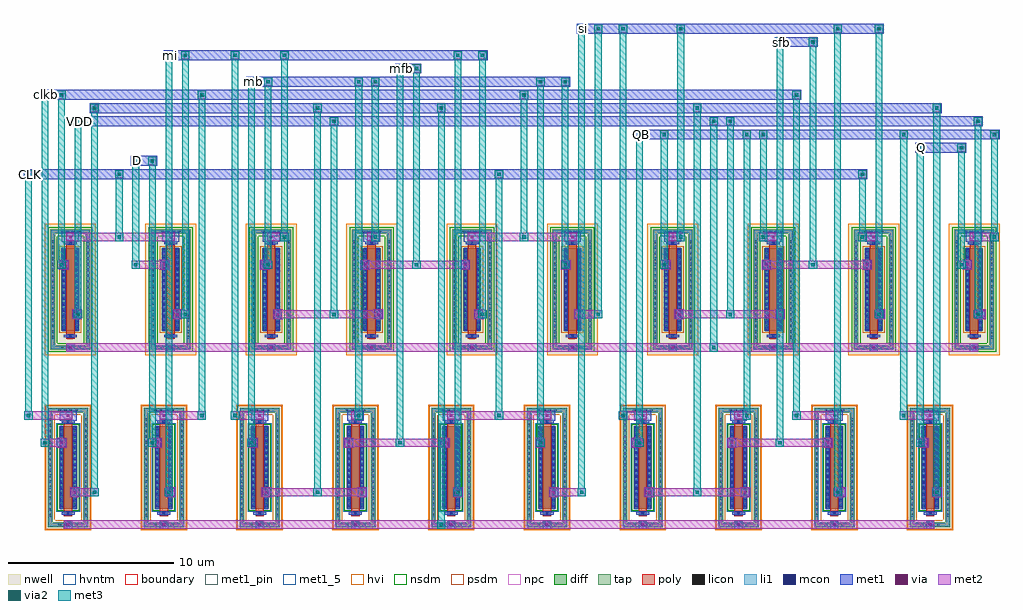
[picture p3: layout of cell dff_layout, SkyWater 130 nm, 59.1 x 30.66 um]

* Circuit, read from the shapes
.subckt dff_layout CLK D Q QB VDD VSS clkb mb mfb mi sfb si
XM1 VSS CLK clkb VSS sky130_fd_pr__nfet_g5v0d10v5 w=5 l=0.5
XM2 mi clkb D VSS sky130_fd_pr__nfet_g5v0d10v5 w=5 l=0.5
XM3 VSS mi mb VSS sky130_fd_pr__nfet_g5v0d10v5 w=5 l=0.5
XM4 VSS mb mfb VSS sky130_fd_pr__nfet_g5v0d10v5 w=5 l=0.5
XM5 mi CLK mfb VSS sky130_fd_pr__nfet_g5v0d10v5 w=5 l=0.5
XM6 si CLK mb VSS sky130_fd_pr__nfet_g5v0d10v5 w=5 l=0.5
XM7 VSS si QB VSS sky130_fd_pr__nfet_g5v0d10v5 w=5 l=0.5
XM8 VSS QB sfb VSS sky130_fd_pr__nfet_g5v0d10v5 w=5 l=0.5
XM9 si clkb sfb VSS sky130_fd_pr__nfet_g5v0d10v5 w=5 l=0.5
XM10 VSS QB Q VSS sky130_fd_pr__nfet_g5v0d10v5 w=5 l=0.5
XM11 VDD CLK clkb VDD sky130_fd_pr__pfet_g5v0d10v5 w=5 l=0.5
XM12 mi CLK D VDD sky130_fd_pr__pfet_g5v0d10v5 w=5 l=0.5
XM13 VDD mi mb VDD sky130_fd_pr__pfet_g5v0d10v5 w=5 l=0.5
XM14 VDD mb mfb VDD sky130_fd_pr__pfet_g5v0d10v5 w=5 l=0.5
XM15 mi clkb mfb VDD sky130_fd_pr__pfet_g5v0d10v5 w=5 l=0.5
XM16 si clkb mb VDD sky130_fd_pr__pfet_g5v0d10v5 w=5 l=0.5
XM17 VDD si QB VDD sky130_fd_pr__pfet_g5v0d10v5 w=5 l=0.5
XM18 VDD QB sfb VDD sky130_fd_pr__pfet_g5v0d10v5 w=5 l=0.5
XM19 si CLK sfb VDD sky130_fd_pr__pfet_g5v0d10v5 w=5 l=0.5
XM20 VDD QB Q VDD sky130_fd_pr__pfet_g5v0d10v5 w=5 l=0.5
.ends

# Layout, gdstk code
import gdstk
lib = gdstk.Library(unit=1e-6, precision=1e-09)
def R(c, l, rs):  # rectangles x0, y0, x1, y1
    for r in rs: c.add(gdstk.rectangle(r[:2], r[2:], *l))
def A(c, l, x, y, w, h, nx, ny, dx, dy):  # array of equal rectangles
    R(c, l, [(x+i*dx, y+j*dy, x+i*dx+w, y+j*dy+h) for i in range(nx) for j in range(ny)])
nwell = (64, 20)
diff = (65, 20)
tap = (65, 44)
poly = (66, 20)
licon = (66, 44)
li1 = (67, 20)
mcon = (67, 44)
met1_5 = (68, 5)
met1_pin = (68, 16)
met1 = (68, 20)
via = (68, 44)
met2 = (69, 20)
via2 = (69, 44)
met3 = (70, 20)
hvi = (75, 20)
nsdm = (93, 44)
psdm = (94, 20)
npc = (95, 20)
hvntm = (125, 20)
boundary = (235, 4)

sky130_fd_pr__pfet_g5v0d = lib.new_cell('sky130_fd_pr__pfet_g5v0d10v5_26NBC3')
R(sky130_fd_pr__pfet_g5v0d, nwell, [(-1.54,-3.985,1.54,3.985)])
R(sky130_fd_pr__pfet_g5v0d, diff, [(-0.54,-2.5,0.54,2.5)])
R(sky130_fd_pr__pfet_g5v0d, tap, [(-1.21,-3.655,1.21,-3.365), (-1.21,-3.365,-0.92,3.365), (0.92,-3.365,1.21,3.365), (-1.21,3.365,1.21,3.655)])
R(sky130_fd_pr__pfet_g5v0d, poly, [(-0.25,-2.985,0.25,2.985)])
A(sky130_fd_pr__pfet_g5v0d, licon, -0.595, -3.595, 0.17, 0.17, 4, 2, 0.34, 7.02)
A(sky130_fd_pr__pfet_g5v0d, licon, -1.15, -2.975, 0.17, 0.17, 1, 18, 0, 0.34)
A(sky130_fd_pr__pfet_g5v0d, licon, 0.98, -2.975, 0.17, 0.17, 1, 18, 0, 0.34)
A(sky130_fd_pr__pfet_g5v0d, licon, -0.48, -2.295, 0.17, 0.17, 1, 14, 0, 0.34)
A(sky130_fd_pr__pfet_g5v0d, licon, 0.31, -2.295, 0.17, 0.17, 1, 14, 0, 0.34)
R(sky130_fd_pr__pfet_g5v0d, licon, [(-0.085,-2.905,0.085,-2.735), (-0.085,2.735,0.085,2.905)])
R(sky130_fd_pr__pfet_g5v0d, li1, [(-1.15,-3.595,1.15,-3.425), (-1.15,-3.425,-0.98,3.425), (0.98,-3.425,1.15,3.425), (-0.395,-2.905,0.395,-2.735), (-0.48,-2.52,-0.31,2.52), (0.31,-2.52,0.48,2.52), (-0.395,2.735,0.395,2.905), (-1.15,3.425,1.15,3.595)])
A(sky130_fd_pr__pfet_g5v0d, mcon, -0.48, -2.425, 0.17, 0.17, 1, 14, 0, 0.36)
A(sky130_fd_pr__pfet_g5v0d, mcon, 0.31, -2.425, 0.17, 0.17, 1, 14, 0, 0.36)
R(sky130_fd_pr__pfet_g5v0d, mcon, [(-0.085,-2.905,0.085,-2.735), (-0.085,2.735,0.085,2.905)])
R(sky130_fd_pr__pfet_g5v0d, met1, [(-0.23,-2.935,0.23,-2.905), (-0.395,-2.905,0.395,-2.735), (-0.23,-2.735,0.23,-2.705), (-0.51,-2.5,-0.28,2.5), (0.28,-2.5,0.51,2.5), (-0.23,2.705,0.23,2.735), (-0.395,2.735,0.395,2.905), (-0.23,2.905,0.23,2.935)])
R(sky130_fd_pr__pfet_g5v0d, hvi, [(-1.54,-3.985,1.54,3.985)])
R(sky130_fd_pr__pfet_g5v0d, nsdm, [(-1.335,-3.78,1.335,-3.24), (-1.335,-3.24,-0.795,3.24), (0.795,-3.24,1.335,3.24), (-1.335,3.24,1.335,3.78)])
R(sky130_fd_pr__pfet_g5v0d, psdm, [(-0.665,-2.625,0.665,2.625)])
R(sky130_fd_pr__pfet_g5v0d, npc, [(-0.185,-3.005,0.185,-2.635), (-0.185,2.635,0.185,3.005)])
R(sky130_fd_pr__pfet_g5v0d, boundary, [(-1.065,-3.51,1.065,3.51)])
sky130_fd_pr__pfet_g5v0d.add(gdstk.Label('B', (0,-3.51), layer=67, texttype=5))
sky130_fd_pr__pfet_g5v0d.add(gdstk.Label('D', (-0.395,0), layer=67, texttype=5))
sky130_fd_pr__pfet_g5v0d.add(gdstk.Label('S', (0.395,0), layer=67, texttype=5))
sky130_fd_pr__pfet_g5v0d.add(gdstk.Label('G', (0,2.82), layer=67, texttype=5))

sky130_fd_pr__nfet_g5v0d = lib.new_cell('sky130_fd_pr__nfet_g5v0d10v5_K6WTJS')
R(sky130_fd_pr__nfet_g5v0d, diff, [(-0.54,-2.5,0.54,2.5)])
R(sky130_fd_pr__nfet_g5v0d, tap, [(-1.22,-3.61,1.22,-3.32), (-1.22,-3.32,-0.93,3.32), (0.93,-3.32,1.22,3.32), (-1.22,3.32,1.22,3.61)])
R(sky130_fd_pr__nfet_g5v0d, poly, [(-0.25,-2.94,0.25,2.94)])
A(sky130_fd_pr__nfet_g5v0d, licon, -0.595, -3.55, 0.17, 0.17, 4, 2, 0.34, 6.93)
A(sky130_fd_pr__nfet_g5v0d, licon, -1.16, -2.975, 0.17, 0.17, 1, 18, 0, 0.34)
A(sky130_fd_pr__nfet_g5v0d, licon, 0.99, -2.975, 0.17, 0.17, 1, 18, 0, 0.34)
A(sky130_fd_pr__nfet_g5v0d, licon, -0.48, -2.295, 0.17, 0.17, 1, 14, 0, 0.34)
A(sky130_fd_pr__nfet_g5v0d, licon, 0.31, -2.295, 0.17, 0.17, 1, 14, 0, 0.34)
R(sky130_fd_pr__nfet_g5v0d, licon, [(-0.085,-2.86,0.085,-2.69), (-0.085,2.69,0.085,2.86)])
R(sky130_fd_pr__nfet_g5v0d, li1, [(-1.16,-3.55,1.16,-3.38), (-1.16,-3.38,-0.99,3.38), (0.99,-3.38,1.16,3.38), (-0.395,-2.86,0.395,-2.69), (-0.48,-2.52,-0.31,2.52), (0.31,-2.52,0.48,2.52), (-0.395,2.69,0.395,2.86), (-1.16,3.38,1.16,3.55)])
A(sky130_fd_pr__nfet_g5v0d, mcon, -0.48, -2.425, 0.17, 0.17, 1, 14, 0, 0.36)
A(sky130_fd_pr__nfet_g5v0d, mcon, 0.31, -2.425, 0.17, 0.17, 1, 14, 0, 0.36)
R(sky130_fd_pr__nfet_g5v0d, mcon, [(-0.085,-2.86,0.085,-2.69), (-0.085,2.69,0.085,2.86)])
R(sky130_fd_pr__nfet_g5v0d, met1, [(-0.23,-2.89,0.23,-2.86), (-0.395,-2.86,0.395,-2.69), (-0.23,-2.69,0.23,-2.66), (-0.51,-2.5,-0.28,2.5), (0.28,-2.5,0.51,2.5), (-0.23,2.66,0.23,2.69), (-0.395,2.69,0.395,2.86), (-0.23,2.86,0.23,2.89)])
R(sky130_fd_pr__nfet_g5v0d, hvi, [(-1.405,-3.795,1.405,3.795)])
R(sky130_fd_pr__nfet_g5v0d, nsdm, [(-0.665,-2.625,0.665,2.625)])
R(sky130_fd_pr__nfet_g5v0d, psdm, [(-1.345,-3.735,1.345,-3.195), (-1.345,-3.195,-0.805,3.195), (0.805,-3.195,1.345,3.195), (-1.345,3.195,1.345,3.735)])
R(sky130_fd_pr__nfet_g5v0d, npc, [(-0.185,-2.96,0.185,-2.59), (-0.185,2.59,0.185,2.96)])
R(sky130_fd_pr__nfet_g5v0d, hvntm, [(-0.725,-2.685,0.725,2.685)])
R(sky130_fd_pr__nfet_g5v0d, boundary, [(-1.075,-3.465,1.075,3.465)])
sky130_fd_pr__nfet_g5v0d.add(gdstk.Label('B', (0,-3.465), layer=67, texttype=5))
sky130_fd_pr__nfet_g5v0d.add(gdstk.Label('D', (-0.395,0), layer=67, texttype=5))
sky130_fd_pr__nfet_g5v0d.add(gdstk.Label('S', (0.395,0), layer=67, texttype=5))
sky130_fd_pr__nfet_g5v0d.add(gdstk.Label('G', (0,2.775), layer=67, texttype=5))

dff_layout = lib.new_cell('dff_layout')
A(dff_layout, li1, 1.23, 0.155, 0.34, 0.34, 10, 1, 5.8, 0)
A(dff_layout, li1, 1.37, 10.885, 0.34, 0.34, 10, 1, 6.08, 0)
A(dff_layout, mcon, 1.315, 0.24, 0.17, 0.17, 10, 1, 5.8, 0)
A(dff_layout, mcon, 1.455, 10.97, 0.17, 0.17, 10, 1, 6.08, 0)
R(dff_layout, met1_5, [(0,26.15,0.2,26.55), (12.5,26.95,12.7,27.35), (21.5,27.75,21.7,28.15), (7.5,28.55,7.7,28.95), (44.5,29.35,44.7,29.75), (32.5,30.15,32.7,30.55)])
R(dff_layout, met1_pin, [(-1,21.35,-0.8,21.75), (5.5,22.15,5.7,22.55), (53,22.95,53.2,23.35), (36,23.75,36.2,24.15), (2,24.55,2.2,24.95), (3,25.35,3.2,25.75)])
A(dff_layout, met1, 1.15, 0.075, 0.5, 0.5, 10, 1, 5.8, 0)
A(dff_layout, met1, 1.545, 2.04, 0.5, 0.5, 10, 1, 5.8, 0)
A(dff_layout, met1, 0.755, 5.04, 0.5, 0.5, 10, 1, 5.8, 0)
A(dff_layout, met1, 0.89, 6.63, 1.02, 0.6, 10, 1, 5.8, 0)
A(dff_layout, met1, 1.29, 10.805, 0.5, 0.5, 10, 1, 6.08, 0)
A(dff_layout, met1, 1.685, 12.815, 0.5, 0.5, 10, 1, 6.08, 0)
A(dff_layout, met1, 0.895, 15.815, 0.5, 0.5, 10, 1, 6.08, 0)
A(dff_layout, met1, 1.03, 17.45, 1.02, 0.6, 10, 1, 6.08, 0)
R(dff_layout, met1, [(-1.3,21.25,49.8,21.85), (5.2,22.05,6.8,22.65), (52.7,22.85,55.8,23.45), (35.7,23.65,57.8,24.25), (1.7,24.45,56.8,25.05), (2.7,25.25,54.3,25.85), (-0.3,26.05,45.8,26.65), (12.2,26.85,31.8,27.45), (21.2,27.65,22.8,28.25), (7.2,28.45,26.8,29.05), (44.2,29.25,46.8,29.85), (32.2,30.05,50.8,30.65)])
A(dff_layout, via, 1.325, 0.25, 0.15, 0.15, 10, 2, 5.8, 6.605)
A(dff_layout, via, 1.72, 2.215, 0.15, 0.15, 10, 1, 5.8, 0)
A(dff_layout, via, 0.93, 5.215, 0.15, 0.15, 10, 1, 5.8, 0)
A(dff_layout, via, 1.465, 10.98, 0.15, 0.15, 10, 2, 6.08, 6.695)
A(dff_layout, via, 1.86, 12.99, 0.15, 0.15, 10, 1, 6.08, 0)
A(dff_layout, via, 1.07, 15.99, 0.15, 0.15, 10, 1, 6.08, 0)
A(dff_layout, via, 8.425, 28.675, 0.15, 0.15, 3, 1, 3, 0)
R(dff_layout, via, [(-1.075,21.475,-0.925,21.625), (4.425,21.475,4.575,21.625), (27.425,21.475,27.575,21.625), (49.425,21.475,49.575,21.625), (5.425,22.275,5.575,22.425), (6.425,22.275,6.575,22.425), (52.925,23.075,53.075,23.225), (55.425,23.075,55.575,23.225), (35.925,23.875,36.075,24.025), (37.425,23.875,37.575,24.025), (42.425,23.875,42.575,24.025), (43.425,23.875,43.575,24.025), (51.925,23.875,52.075,24.025), (57.425,23.875,57.575,24.025), (1.925,24.675,2.075,24.825), (17.425,24.675,17.575,24.825), (40.425,24.675,40.575,24.825), (41.425,24.675,41.575,24.825), (56.425,24.675,56.575,24.825), (2.925,25.475,3.075,25.625), (16.425,25.475,16.575,25.625), (23.925,25.475,24.075,25.625), (39.425,25.475,39.575,25.625), (53.925,25.475,54.075,25.625), (-0.075,26.275,0.075,26.425), (0.925,26.275,1.075,26.425), (9.425,26.275,9.575,26.425), (28.925,26.275,29.075,26.425), (45.425,26.275,45.575,26.425), (12.425,27.075,12.575,27.225), (13.425,27.075,13.575,27.225), (18.925,27.075,19.075,27.225), (19.925,27.075,20.075,27.225), (29.925,27.075,30.075,27.225), (31.425,27.075,31.575,27.225), (21.425,27.875,21.575,28.025), (22.425,27.875,22.575,28.025), (7.425,28.675,7.575,28.825), (24.925,28.675,25.075,28.825), (26.425,28.675,26.575,28.825), (44.425,29.475,44.575,29.625), (46.425,29.475,46.575,29.625), (32.425,30.275,32.575,30.425), (33.425,30.275,33.575,30.425), (34.925,30.275,35.075,30.425), (38.425,30.275,38.575,30.425), (47.925,30.275,48.075,30.425), (50.425,30.275,50.575,30.425)])
A(dff_layout, met2, 1.15, 0.075, 0.5, 0.005, 10, 1, 5.8, 0)
A(dff_layout, met2, 1.495, 1.99, 0.6, 0.05, 4, 2, 5.8, 0.55)
A(dff_layout, met2, 30.495, 1.99, 0.6, 0.05, 4, 2, 5.8, 0.55)
A(dff_layout, met2, 0.705, 4.99, 0.6, 0.05, 5, 2, 5.8, 0.55)
A(dff_layout, met2, 35.505, 4.99, 0.6, 0.05, 4, 2, 5.8, 0.55)
A(dff_layout, met2, 1.29, 11.3, 0.5, 0.005, 10, 1, 6.08, 0)
A(dff_layout, met2, 0.845, 15.765, 0.6, 0.05, 3, 2, 6.08, 0.55)
A(dff_layout, met2, 8.25, 28.5, 0.5, 0.5, 3, 1, 3, 0)
R(dff_layout, met2, [(1.15,0.08,53.85,0.58), (24.695,1.99,25.295,2.59), (53.695,1.99,54.295,2.59), (1.495,2.04,3.25,2.54), (7.25,2.04,7.895,2.54), (13.095,2.04,19.495,2.54), (30.495,2.04,32.75,2.54), (36.295,2.04,42.695,2.54), (47.75,2.04,48.495,2.54), (29.705,4.99,30.305,5.59), (-0.25,5.04,1.305,5.54), (6.25,5.04,7.105,5.54), (12.25,5.04,12.905,5.54), (18.105,5.04,24.505,5.54), (35.505,5.04,36.25,5.54), (41.305,5.04,47.705,5.54), (52.75,5.04,53.505,5.54), (-1.25,6.68,1.65,7.18), (6.95,6.68,9.75,7.18), (11.25,6.68,13.25,7.18), (18.55,6.68,19.25,7.18), (24.35,6.68,30.65,7.18), (34.75,6.68,36.45,7.18), (41.75,6.68,42.75,7.18), (45.25,6.68,48.05,7.18), (51.75,6.68,53.85,7.18), (1.29,10.8,56.51,11.3), (1.635,12.765,2.235,12.815), (7.715,12.765,8.315,12.815), (13.795,12.765,14.395,12.81), (19.875,12.765,20.475,12.81), (25.955,12.765,26.555,12.815), (32.035,12.765,32.635,12.815), (38.115,12.765,38.715,12.81), (44.195,12.765,44.795,12.81), (50.275,12.765,50.875,12.815), (56.355,12.765,56.955,12.815), (13.795,12.81,20.475,13.31), (38.115,12.81,44.795,13.31), (1.635,12.815,2.25,13.315), (7.715,12.815,8.75,13.315), (25.955,12.815,26.75,13.315), (32.035,12.815,33.75,13.315), (50.25,12.815,50.875,13.315), (56.25,12.815,56.955,13.315), (13.795,13.31,14.395,13.365), (19.875,13.31,20.475,13.365), (38.115,13.31,38.715,13.365), (44.195,13.31,44.795,13.365), (1.635,13.315,2.235,13.365), (7.715,13.315,8.315,13.365), (25.955,13.315,26.555,13.365), (32.035,13.315,32.635,13.365), (50.275,13.315,50.875,13.365), (56.355,13.315,56.955,13.365), (19.085,15.765,19.685,15.81), (25.165,15.765,25.765,15.81), (31.245,15.765,31.845,16.365), (37.325,15.765,37.925,15.815), (43.405,15.765,44.005,15.81), (49.485,15.765,50.085,15.81), (55.565,15.765,56.165,15.815), (19.085,15.81,25.765,16.31), (43.405,15.81,50.085,16.31), (0.75,15.815,1.445,16.315), (5.25,15.815,7.525,16.315), (13.005,15.815,13.75,16.315), (37.25,15.815,37.925,16.315), (55.25,15.815,56.165,16.315), (19.085,16.31,19.685,16.365), (25.165,16.31,25.765,16.365), (43.405,16.31,44.005,16.365), (49.485,16.31,50.085,16.365), (37.325,16.315,37.925,16.365), (55.565,16.315,56.165,16.365), (1.29,17.5,7.87,18), (13.45,17.5,14.75,18), (19.53,17.5,20.25,18), (25.61,17.5,32.19,18), (37.77,17.5,38.75,18), (43.25,17.5,44.35,18), (49.25,17.5,50.43,18), (56.01,17.5,57.75,18), (-1.25,21.3,-0.75,21.8), (4.25,21.3,4.75,21.8), (27.25,21.3,27.75,21.8), (49.25,21.3,49.75,21.8), (5.25,22.1,5.75,22.6), (6.25,22.1,6.75,22.6), (52.75,22.9,53.25,23.4), (55.25,22.9,55.75,23.4), (35.75,23.7,36.25,24.2), (37.25,23.7,37.75,24.2), (42.25,23.7,42.75,24.2), (43.25,23.7,43.75,24.2), (51.75,23.7,52.25,24.2), (57.25,23.7,57.75,24.2), (1.75,24.5,2.25,25), (17.25,24.5,17.75,25), (40.25,24.5,40.75,25), (41.25,24.5,41.75,25), (56.25,24.5,56.75,25), (2.75,25.3,3.25,25.8), (16.25,25.3,16.75,25.8), (23.75,25.3,24.25,25.8), (39.25,25.3,39.75,25.8), (53.75,25.3,54.25,25.8), (-0.25,26.1,0.25,26.6), (0.75,26.1,1.25,26.6), (9.25,26.1,9.75,26.6), (28.75,26.1,29.25,26.6), (45.25,26.1,45.75,26.6), (12.25,26.9,12.75,27.4), (13.25,26.9,13.75,27.4), (18.75,26.9,19.25,27.4), (19.75,26.9,20.25,27.4), (29.75,26.9,30.25,27.4), (31.25,26.9,31.75,27.4), (21.25,27.7,21.75,28.2), (22.25,27.7,22.75,28.2), (7.25,28.5,7.75,29), (24.75,28.5,25.25,29), (26.25,28.5,26.75,29), (44.25,29.3,44.75,29.8), (46.25,29.3,46.75,29.8), (32.25,30.1,32.75,30.6), (33.25,30.1,33.75,30.6), (34.75,30.1,35.25,30.6), (38.25,30.1,38.75,30.6), (47.75,30.1,48.25,30.6), (50.25,30.1,50.75,30.6)])
A(dff_layout, via2, 35.9, 5.19, 0.2, 0.2, 3, 1, 8.5, 0)
A(dff_layout, via2, 27.4, 6.83, 0.2, 0.2, 3, 1, 7.5, 0)
A(dff_layout, via2, 8.4, 28.65, 0.2, 0.2, 3, 1, 3, 0)
R(dff_layout, via2, [(23.9,0.23,24.1,0.43), (2.9,2.19,3.1,2.39), (7.4,2.19,7.6,2.39), (16.4,2.19,16.6,2.39), (24.9,2.19,25.1,2.39), (32.4,2.19,32.6,2.39), (39.4,2.19,39.6,2.39), (47.9,2.19,48.1,2.39), (53.9,2.19,54.1,2.39), (-0.1,5.19,0.1,5.39), (6.4,5.19,6.6,5.39), (12.4,5.19,12.6,5.39), (21.4,5.19,21.6,5.39), (29.9,5.19,30.1,5.39), (-1.1,6.83,-0.9,7.03), (9.4,6.83,9.6,7.03), (11.4,6.83,11.6,7.03), (18.9,6.83,19.1,7.03), (45.4,6.83,45.6,7.03), (51.9,6.83,52.1,7.03), (40.4,10.95,40.6,11.15), (17.4,12.96,17.6,13.16), (41.4,12.96,41.6,13.16), (1.9,12.965,2.1,13.165), (8.4,12.965,8.6,13.165), (26.4,12.965,26.6,13.165), (33.4,12.965,33.6,13.165), (50.4,12.965,50.6,13.165), (56.4,12.965,56.6,13.165), (22.4,15.96,22.6,16.16), (46.4,15.96,46.6,16.16), (0.9,15.965,1.1,16.165), (5.4,15.965,5.6,16.165), (13.4,15.965,13.6,16.165), (31.4,15.965,31.6,16.165), (37.4,15.965,37.6,16.165), (55.4,15.965,55.6,16.165), (4.4,17.65,4.6,17.85), (14.4,17.65,14.6,17.85), (19.9,17.65,20.1,17.85), (28.9,17.65,29.1,17.85), (38.4,17.65,38.6,17.85), (43.4,17.65,43.6,17.85), (49.4,17.65,49.6,17.85), (57.4,17.65,57.6,17.85), (-1.1,21.45,-0.9,21.65), (4.4,21.45,4.6,21.65), (27.4,21.45,27.6,21.65), (49.4,21.45,49.6,21.65), (5.4,22.25,5.6,22.45), (6.4,22.25,6.6,22.45), (52.9,23.05,53.1,23.25), (55.4,23.05,55.6,23.25), (35.9,23.85,36.1,24.05), (37.4,23.85,37.6,24.05), (42.4,23.85,42.6,24.05), (43.4,23.85,43.6,24.05), (51.9,23.85,52.1,24.05), (57.4,23.85,57.6,24.05), (1.9,24.65,2.1,24.85), (17.4,24.65,17.6,24.85), (40.4,24.65,40.6,24.85), (41.4,24.65,41.6,24.85), (56.4,24.65,56.6,24.85), (2.9,25.45,3.1,25.65), (16.4,25.45,16.6,25.65), (23.9,25.45,24.1,25.65), (39.4,25.45,39.6,25.65), (53.9,25.45,54.1,25.65), (-0.1,26.25,0.1,26.45), (0.9,26.25,1.1,26.45), (9.4,26.25,9.6,26.45), (28.9,26.25,29.1,26.45), (45.4,26.25,45.6,26.45), (12.4,27.05,12.6,27.25), (13.4,27.05,13.6,27.25), (18.9,27.05,19.1,27.25), (19.9,27.05,20.1,27.25), (29.9,27.05,30.1,27.25), (31.4,27.05,31.6,27.25), (21.4,27.85,21.6,28.05), (22.4,27.85,22.6,28.05), (7.4,28.65,7.6,28.85), (24.9,28.65,25.1,28.85), (26.4,28.65,26.6,28.85), (44.4,29.45,44.6,29.65), (46.4,29.45,46.6,29.65), (32.4,30.25,32.6,30.45), (33.4,30.25,33.6,30.45), (34.9,30.25,35.1,30.45), (38.4,30.25,38.6,30.45), (47.9,30.25,48.1,30.45), (50.4,30.25,50.6,30.45)])
A(dff_layout, met3, 35.75, 5.04, 0.5, 0.5, 3, 1, 8.5, 0)
A(dff_layout, met3, 27.25, 6.68, 0.5, 0.5, 3, 1, 7.5, 0)
A(dff_layout, met3, 8.25, 28.5, 0.5, 0.5, 3, 1, 3, 0)
R(dff_layout, met3, [(23.75,0.08,24.25,0.58), (23.8,0.58,24.2,25.3), (2.75,2.04,3.25,2.54), (7.25,2.04,7.75,2.54), (16.25,2.04,16.75,2.54), (24.75,2.04,25.25,2.54), (32.25,2.04,32.75,2.54), (39.25,2.04,39.75,2.54), (47.75,2.04,48.25,2.54), (53.75,2.04,54.25,2.54), (2.8,2.54,3.2,25.3), (7.3,2.54,7.7,28.5), (16.3,2.54,16.7,25.3), (24.8,2.54,25.2,28.5), (32.3,2.54,32.7,30.1), (39.3,2.54,39.7,25.3), (47.8,2.54,48.2,30.1), (53.8,2.54,54.2,25.3), (-0.25,5.04,0.25,5.54), (6.25,5.04,6.75,5.54), (12.25,5.04,12.75,5.54), (21.25,5.04,21.75,5.54), (29.75,5.04,30.25,5.54), (-0.2,5.54,0.2,26.1), (6.3,5.54,6.7,22.1), (12.3,5.54,12.7,26.9), (21.3,5.54,21.7,27.7), (29.8,5.54,30.2,26.9), (35.8,5.54,36.2,23.7), (44.3,5.54,44.7,29.3), (52.8,5.54,53.2,22.9), (-1.25,6.68,-0.75,7.18), (9.25,6.68,9.75,7.18), (11.25,6.68,11.75,7.18), (18.75,6.68,19.25,7.18), (45.25,6.68,45.75,7.18), (51.75,6.68,52.25,7.18), (-1.2,7.18,-0.8,21.3), (9.3,7.18,9.7,26.1), (11.3,7.18,11.7,28.5), (18.8,7.18,19.2,26.9), (27.3,7.18,27.7,21.3), (34.8,7.18,35.2,30.1), (42.3,7.18,42.7,23.7), (45.3,7.18,45.7,26.1), (51.8,7.18,52.2,23.7), (40.25,10.8,40.75,11.3), (40.3,11.3,40.7,24.5), (17.25,12.81,17.75,13.31), (41.25,12.81,41.75,13.31), (1.75,12.815,2.25,13.315), (8.25,12.815,8.75,13.315), (26.25,12.815,26.75,13.315), (33.25,12.815,33.75,13.315), (50.25,12.815,50.75,13.315), (56.25,12.815,56.75,13.315), (17.3,13.31,17.7,24.5), (41.3,13.31,41.7,24.5), (1.8,13.315,2.2,24.5), (8.3,13.315,8.7,28.5), (26.3,13.315,26.7,28.5), (33.3,13.315,33.7,30.1), (50.3,13.315,50.7,30.1), (56.3,13.315,56.7,24.5), (22.25,15.81,22.75,16.31), (46.25,15.81,46.75,16.31), (0.75,15.815,1.25,16.315), (5.25,15.815,5.75,16.315), (13.25,15.815,13.75,16.315), (31.25,15.815,31.75,16.315), (37.25,15.815,37.75,16.315), (55.25,15.815,55.75,16.315), (22.3,16.31,22.7,27.7), (46.3,16.31,46.7,29.3), (0.8,16.315,1.2,26.1), (5.3,16.315,5.7,22.1), (13.3,16.315,13.7,26.9), (31.3,16.315,31.7,26.9), (37.3,16.315,37.7,23.7), (55.3,16.315,55.7,22.9), (4.25,17.5,4.75,18), (14.25,17.5,14.75,18), (19.75,17.5,20.25,18), (28.75,17.5,29.25,18), (38.25,17.5,38.75,18), (43.25,17.5,43.75,18), (49.25,17.5,49.75,18), (57.25,17.5,57.75,18), (4.3,18,4.7,21.3), (14.3,18,14.7,28.5), (19.8,18,20.2,26.9), (28.8,18,29.2,26.1), (38.3,18,38.7,30.1), (43.3,18,43.7,23.7), (49.3,18,49.7,21.3), (57.3,18,57.7,23.7), (-1.25,21.3,-0.75,21.8), (4.25,21.3,4.75,21.8), (27.25,21.3,27.75,21.8), (49.25,21.3,49.75,21.8), (5.25,22.1,5.75,22.6), (6.25,22.1,6.75,22.6), (52.75,22.9,53.25,23.4), (55.25,22.9,55.75,23.4), (35.75,23.7,36.25,24.2), (37.25,23.7,37.75,24.2), (42.25,23.7,42.75,24.2), (43.25,23.7,43.75,24.2), (51.75,23.7,52.25,24.2), (57.25,23.7,57.75,24.2), (1.75,24.5,2.25,25), (17.25,24.5,17.75,25), (40.25,24.5,40.75,25), (41.25,24.5,41.75,25), (56.25,24.5,56.75,25), (2.75,25.3,3.25,25.8), (16.25,25.3,16.75,25.8), (23.75,25.3,24.25,25.8), (39.25,25.3,39.75,25.8), (53.75,25.3,54.25,25.8), (-0.25,26.1,0.25,26.6), (0.75,26.1,1.25,26.6), (9.25,26.1,9.75,26.6), (28.75,26.1,29.25,26.6), (45.25,26.1,45.75,26.6), (12.25,26.9,12.75,27.4), (13.25,26.9,13.75,27.4), (18.75,26.9,19.25,27.4), (19.75,26.9,20.25,27.4), (29.75,26.9,30.25,27.4), (31.25,26.9,31.75,27.4), (21.25,27.7,21.75,28.2), (22.25,27.7,22.75,28.2), (7.25,28.5,7.75,29), (24.75,28.5,25.25,29), (26.25,28.5,26.75,29), (44.25,29.3,44.75,29.8), (46.25,29.3,46.75,29.8), (32.25,30.1,32.75,30.6), (33.25,30.1,33.75,30.6), (34.75,30.1,35.25,30.6), (38.25,30.1,38.75,30.6), (47.75,30.1,48.25,30.6), (50.25,30.1,50.75,30.6)])
dff_layout.add(gdstk.Reference(sky130_fd_pr__pfet_g5v0d, (1.54,14.565)))
dff_layout.add(gdstk.Reference(sky130_fd_pr__pfet_g5v0d, (13.7,14.565)))
dff_layout.add(gdstk.Reference(sky130_fd_pr__pfet_g5v0d, (19.78,14.565)))
dff_layout.add(gdstk.Reference(sky130_fd_pr__pfet_g5v0d, (56.26,14.565)))
dff_layout.add(gdstk.Reference(sky130_fd_pr__pfet_g5v0d, (38.02,14.565)))
dff_layout.add(gdstk.Reference(sky130_fd_pr__pfet_g5v0d, (44.1,14.565)))
dff_layout.add(gdstk.Reference(sky130_fd_pr__pfet_g5v0d, (25.86,14.565)))
dff_layout.add(gdstk.Reference(sky130_fd_pr__pfet_g5v0d, (7.62,14.565)))
dff_layout.add(gdstk.Reference(sky130_fd_pr__pfet_g5v0d, (50.18,14.565)))
dff_layout.add(gdstk.Reference(sky130_fd_pr__pfet_g5v0d, (31.94,14.565)))
dff_layout.add(gdstk.Reference(sky130_fd_pr__nfet_g5v0d, (1.4,3.79)))
dff_layout.add(gdstk.Reference(sky130_fd_pr__nfet_g5v0d, (13,3.79)))
dff_layout.add(gdstk.Reference(sky130_fd_pr__nfet_g5v0d, (18.8,3.79)))
dff_layout.add(gdstk.Reference(sky130_fd_pr__nfet_g5v0d, (53.6,3.79)))
dff_layout.add(gdstk.Reference(sky130_fd_pr__nfet_g5v0d, (36.2,3.79)))
dff_layout.add(gdstk.Reference(sky130_fd_pr__nfet_g5v0d, (42,3.79)))
dff_layout.add(gdstk.Reference(sky130_fd_pr__nfet_g5v0d, (24.6,3.79)))
dff_layout.add(gdstk.Reference(sky130_fd_pr__nfet_g5v0d, (7.2,3.79)))
dff_layout.add(gdstk.Reference(sky130_fd_pr__nfet_g5v0d, (47.8,3.79)))
dff_layout.add(gdstk.Reference(sky130_fd_pr__nfet_g5v0d, (30.4,3.79)))
dff_layout.add(gdstk.Label('clkb', (0.1,26.35), layer=68, texttype=5))
dff_layout.add(gdstk.Label('mi', (7.6,28.75), layer=68, texttype=5))
dff_layout.add(gdstk.Label('mb', (12.6,27.15), layer=68, texttype=5))
dff_layout.add(gdstk.Label('si', (32.6,30.35), layer=68, texttype=5))
dff_layout.add(gdstk.Label('sfb', (44.6,29.55), layer=68, texttype=5))
dff_layout.add(gdstk.Label('mfb', (21.6,27.95), layer=68, texttype=5))
dff_layout.add(gdstk.Label('VDD', (2.1,24.75), layer=68, texttype=5))
dff_layout.add(gdstk.Label('VSS', (3.1,25.55), layer=68, texttype=5))
dff_layout.add(gdstk.Label('D', (5.6,22.35), layer=68, texttype=5))
dff_layout.add(gdstk.Label('QB', (36.1,23.95), layer=68, texttype=5))
dff_layout.add(gdstk.Label('Q', (53.1,23.15), layer=68, texttype=5))
dff_layout.add(gdstk.Label('CLK', (-0.9,21.55), layer=68, texttype=5))

lib.write_gds('dff_layout.gds')
